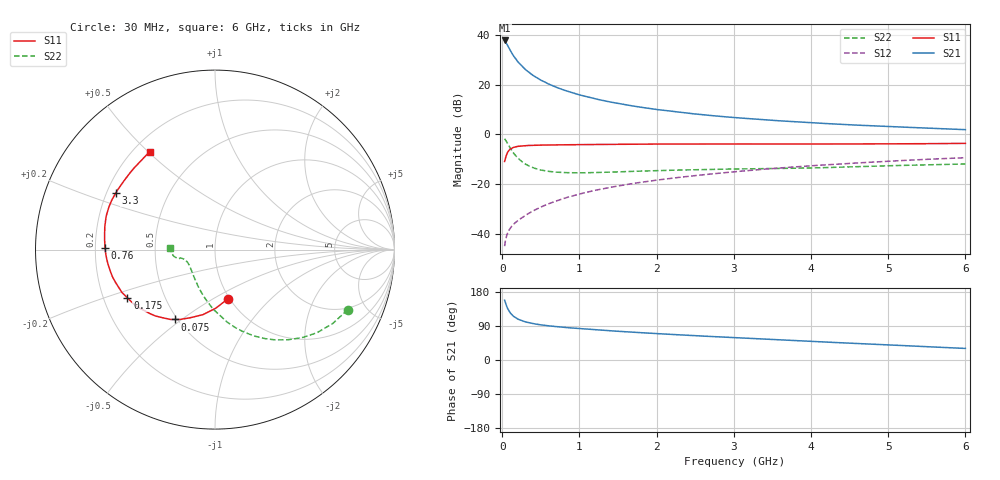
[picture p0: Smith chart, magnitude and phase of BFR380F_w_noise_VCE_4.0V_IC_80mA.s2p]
! Infineon Technologies  Discrete & RF Semiconductors
! BFR380F
! VCE =  4.0 V,  IC =  80 mA
! Common Emitter S-Parameters:  Nov 2015
# GHz  S  MA  R  50
!  f  S11  S21  S12  S22
! GHz  MAG  ANG  MAG  ANG  MAG  ANG  MAG  ANG
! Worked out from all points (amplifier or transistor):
!   206 points, 30 MHz to 6 GHz, reference 50 ohm
!   highest |S21| = 37.7 dB at 30 MHz (marker M1)
!   |S21| within 3 dB of that: start of sweep to 85.44 MHz
!   unconditionally stable (mu >= 1): 647.8 MHz to 4.729 GHz
!   at 200 MHz: K = 0.72, MSG = 32.0 dB, |S12| = -34.8 dB
!   at 1.56 GHz: K = 1.05, MAG = 14.9 dB, |S12| = -20.5 dB
!   at 6 GHz: K = 0.98, MSG = 5.6 dB, |S12| = -9.4 dB
!   lowest NFmin = 1.95 dB at 450 MHz
!   S11 on the Smith chart (normalised r, x): 30 MHz: 0.98, -0.59; 75 MHz: 0.49, -0.47; 175 MHz: 0.30, -0.24; 760 MHz: 0.24, +0.01; 3.3 GHz: 0.24, +0.25; 6 GHz: 0.26, +0.51
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0.03  0.2829 -75.1  77 157.8  0.0056 76.5  0.8115 -24.4
0.04  0.3266 -89.2  73.22 151.4  0.0071 71.6  0.7746 -32.1
0.05  0.3685 -100.5  69.19 145.2  0.0084 68.6  0.7331 -39.2
0.06  0.4046 -110.1  64.71 140.3  0.0095 65.7  0.6894 -45.4
0.075  0.4483 -119.8  58.5 133.7  0.0109 62.4  0.6257 -53.5
0.1  0.4972 -132.0  49.48 125.4  0.0127 60.0  0.5356 -64.7
0.12  0.5196 -139.1  43.7 120.4  0.014 58.7  0.4772 -71.8
0.15  0.5463 -146.8  36.89 114.6  0.0157 58.4  0.4093 -80.5
0.175  0.5571 -151.1  32.83 111.7  0.0169 59.2  0.3691 -85.5
0.2  0.5709 -155.3  28.88 108.0  0.0182 59.8  0.3325 -91.7
0.26  0.5832 -161.6  22.96 103.2  0.0212 62.2  0.2765 -101.7
0.3  0.5907 -164.9  20 100.5  0.0234 63.6  0.2503 -107.7
0.4  0.5986 -170.4  15.2 96.0  0.0287 66.8  0.2116 -119.2
0.6  0.6085 -177.1  10.24 90.1  0.0399 70.7  0.1792 -135.2
0.76  0.6119 179.3  8.145 86.9  0.0489 72.2  0.1705 -143.5
1.04  0.6179 174.4  5.967 82.2  0.0649 73.4  0.1677 -153.1
2.02  0.6344 162.6  3.123 69.5  0.1204 72.4  0.1854 -164.0
3.1  0.6367 152.4  2.112 58.1  0.1811 68.7  0.2006 -166.3
3.3  0.6362 150.5  2.004 56.1  0.1927 67.9  0.2023 -166.2
4.1  0.6357 142.7  1.67 48.1  0.2374 64.0  0.2114 -166.4
5.1  0.641 133.4  1.409 38.9  0.2915 59.1  0.2344 -171.7
6  0.6554 123.7  1.236 30.5  0.337 53.5  0.2521 177.9
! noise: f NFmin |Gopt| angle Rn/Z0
0.45  1.95  0.5  -173  0.08
0.9  1.97  0.53  -170  0.08
1.8  2.31  0.57  -158  0.12
1.9  2.43  0.58  -158  0.12
2.4  2.52  0.58  -149  0.18
3.5  3.31  0.61  -139  0.36
